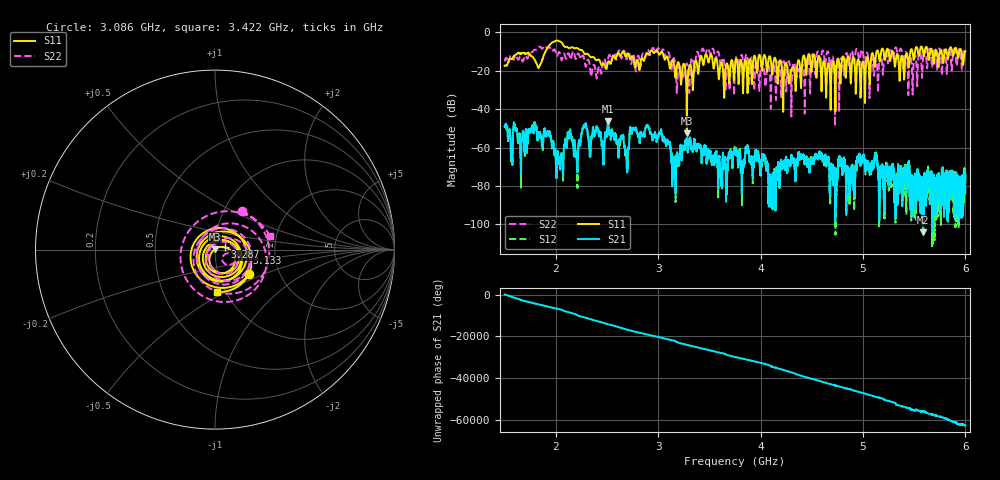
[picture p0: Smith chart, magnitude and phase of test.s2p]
!Keysight Technologies N9923A: A.08.15
!Date: Tuesday, 20 February 2024 21:55:21
!Timezone: (GMT-05:00) Eastern Time (US & Canada)
!Model: N9923A
!Serial: MY52412730
!GPS Latitude:
!GPS Longitude:
!GPS TimeStamp: 0001-01-01 00:00:00Z
!GPS Seconds Since Last Read: 0
!CHECKSUM:1934279338
!Correction: S11(ON Q)S21(ON Q)S12(ON Q)S22(ON Q)
!S2P File: Measurements:S11,S21,S12,S22:
# Hz S DB R 50
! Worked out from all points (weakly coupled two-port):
!   10001 points, 1.5 GHz to 6 GHz, reference 50 ohm
!   highest |S21| = -46.35 dB at 2.51 GHz (marker M1); lowest = -104.2 dB at 5.588 GHz (marker M2)
!   lowest |S11| = -52.7 dB at 3.28 GHz (marker M3), VSWR 1.00, Z = 49.8 + j0.157 ohm
!   |S11| at or under -10 dB: start of sweep to 1.899 GHz; 2.267 GHz to 2.654 GHz (387.4 MHz wide, 15.7 % of centre); 2.994 GHz to 5.133 GHz (2.139 GHz wide, 52.6 % of centre) (the widest 3 of 20)
!   |S22| runs from -48.9 to -7.0 dB; largest |S21 - S12| = 0.00053
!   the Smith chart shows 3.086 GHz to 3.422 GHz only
!   S11 on the Smith chart (normalised r, x): 3.086 GHz: 1.40, -0.41; 3.133 GHz: 1.43, -0.05; 3.287 GHz: 1.11, +0.03; 3.422 GHz: 0.92, -0.46
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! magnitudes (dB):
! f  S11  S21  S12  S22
! 1.5 GHz  -17.5  -48.9  -49.2  -15.2
! 1.928 GHz  -7.3  -53.7  -53.6  -8.0
! 2.023 GHz  -4.4  -65.0  -65.4  -11.0
! 2.25 GHz  -9.2  -53.0  -53.6  -13.1
! 2.51 GHz  -15.4  -46.3  -46.2  -13.8
! 2.692 GHz  -11.6  -68.8  -69.0  -13.9
! 2.744 GHz  -12.5  -51.5  -51.8  -14.5
! 3 GHz  -10.8  -54.4  -54.8  -8.3
! 3.086 GHz  -12.6  -56.7  -56.8  -11.6
! 3.133 GHz  -15.0  -63.5  -64.1  -18.7
! 3.28 GHz  -52.7  -55.2  -55.5  -16.3
! 3.287 GHz  -25.2  -61.8  -62.0  -17.6
! 3.422 GHz  -12.5  -63.0  -64.2  -10.0
! 3.604 GHz  -18.0  -70.2  -70.7  -15.5
! 3.75 GHz  -17.3  -62.5  -62.8  -18.2
! 4.03 GHz  -12.4  -63.7  -64.9  -18.2
! 4.097 GHz  -13.7  -78.5  -78.2  -31.6
! 4.5 GHz  -18.7  -67.0  -67.1  -12.6
! 4.998 GHz  -15.2  -64.4  -64.3  -10.0
! 5.25 GHz  -10.2  -77.6  -74.3  -13.1
! 5.588 GHz  -11.0  -104.2  -81.0  -12.4
! 6 GHz  -9.9  -73.6  -84.0  -11.3
